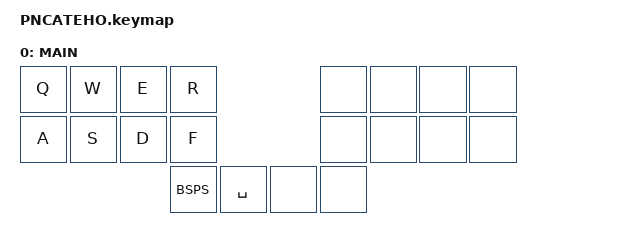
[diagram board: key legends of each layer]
/*
 * Copyright (c) 2020 The ZMK Contributors
 *
 * SPDX-License-Identifier: MIT
 */
#include <behaviors.dtsi>
//#include <dt-bindings/zmk/bt.h>
#include <dt-bindings/zmk/keys.h>
//#include <dt-bindings/zmk/outputs.h>
//#include <dt-bindings/zmk/ext_power.h>

/*
// CONFIG
#define COMBO_TIMEOUT 70
#define COMBO_LAYERS 0
#define STICKY_TIMEOUT 500


// LEFT SIDE
#define TLP 0 // TOP
#define TLR 1 // TOP
#define TLM 2 // TOP
#define TLI 3 // TOP
#define BLP 8 // BOTTOM
#define BLR 9 // BOTTOM
#define BLM 10 // BOTTOM
#define BLI 11 // BOTTOM
#define LOT 16 // O-THUMB
#define LIT 17 // I-THUMB

// RIGHT SIDE
#define TRP 7 // TOP
#define TRR 6 // TOP
#define TRM 5 // TOP
#define TRI 4 // TOP
#define BRP 15 // BOTTOM
#define BRR 14 // BOTTOM
#define BRM 13 // BOTTOM
#define BRI 12 // BOTTOM
#define ROT 19 // O-THUMB
#define RIT 18 // I-THUMB


&sk {
    release-after-ms = <STICKY_TIMEOUT>;
    quick-release;
};
 
*/

#define layer_main 0;

/ {

  keymap {
    compatible = "zmk,keymap";

    default_layer {
      label = "MAIN";
      bindings = <
        &kp Q &kp W &kp E &kp R                            &none &none &none &none     
        &kp A &kp S &kp D &kp F                            &none &none &none &none     
                          &kp BSPS &kp SPACE         &none &none     
      >;
    };
  };
};
